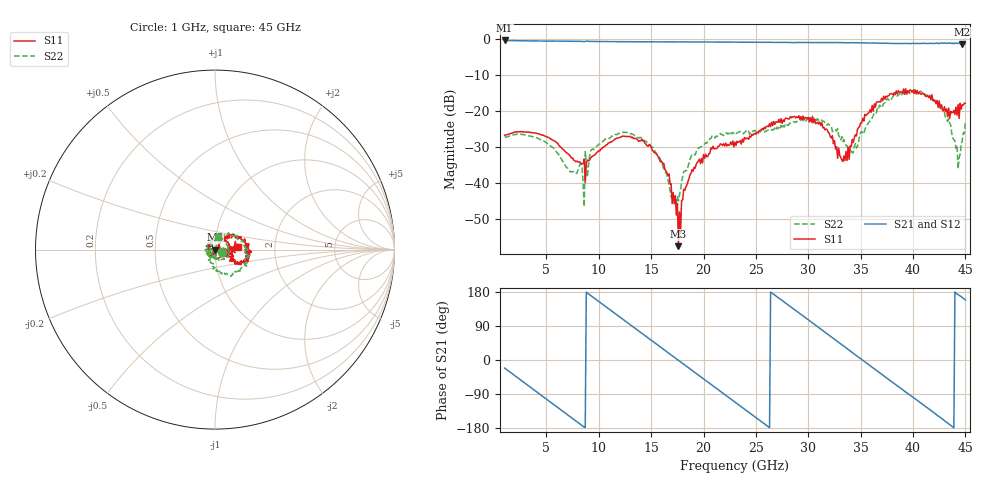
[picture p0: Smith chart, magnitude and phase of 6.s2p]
!Keysight Technologies,N5247B,MY61255062,A.19.80.06
!Date: Monday, May 18, 2026 12:03:56
!Correction: S11(Cdelta 2-Port  )
!S21(Cdelta 2-Port  )
!S12(Cdelta 2-Port  )
!S22(Cdelta 2-Port  )
!S2P File: Measurements: S11, S21, S12, S22:
# Hz S  dB  R 50
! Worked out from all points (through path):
!   441 points, 1 GHz to 45 GHz, reference 50 ohm
!   highest |S21| = -0.41 dB at 1 GHz (marker M1); lowest = -1.4 dB at 44.7 GHz (marker M2)
!   group delay of S21, straight-line fit = 56.8 ps
!   lowest |S11| = -57.6 dB at 17.6 GHz (marker M3), VSWR 1.00, Z = 49.9 - j0.0595 ohm
!   |S11| at or under -10 dB: start of sweep to end of sweep
!   |S22| runs from -46.6 to -14.1 dB; largest |S21 - S12| = 0.015
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1e9  -26.72 -17.0  -0.41 -21.3  -0.41 -21.3  -27.14 -18.6
4.6e9  -26.72 -102.3  -0.57 -95.2  -0.57 -95.2  -28.20 -102.6
8.4e9  -34.73 -115.6  -0.67 -173.1  -0.67 -173.1  -35.71 -63.6
9.4e9  -32.52 -102.0  -0.68 166.5  -0.69 166.5  -30.55 -76.3
1.23e10  -27.01 -128.9  -0.76 107.5  -0.76 107.4  -25.93 -118.4
1.57e10  -33.01 173.8  -0.79 37.9  -0.80 37.9  -32.74 -174.5
1.67e10  -37.48 149.3  -0.82 17.6  -0.82 17.5  -40.48 -170.3
1.76e10  -57.55 -153.3  -0.83 -0.7  -0.83 -0.8  -44.97 -90.3
1.83e10  -41.12 -89.8  -0.83 -15.0  -0.84 -15.0  -36.51 -66.9
1.94e10  -34.27 -104.8  -0.83 -37.4  -0.83 -37.5  -30.98 -86.7
2.12e10  -30.48 -140.4  -0.84 -74.3  -0.85 -74.4  -27.02 -115.8
2.3e10  -28.63 173.4  -0.88 -111.2  -0.88 -111.3  -25.89 -149.6
2.66e10  -24.06 68.5  -0.97 175.3  -0.96 175.2  -25.20 95.3
3.04e10  -21.49 -7.6  -1.00 97.8  -1.02 97.7  -23.25 -18.2
3.33e10  -34.04 25.3  -1.03 38.1  -1.04 37.9  -28.48 -114.8
3.42e10  -27.89 59.3  -1.06 19.9  -1.04 19.7  -31.66 168.3
3.77e10  -15.71 17.5  -1.21 -51.9  -1.25 -52.1  -16.96 30.0
4.09e10  -15.02 -24.4  -1.21 -116.8  -1.26 -116.7  -14.95 -40.8
4.28e10  -19.64 -38.6  -1.14 -155.8  -1.18 -155.7  -19.16 -95.9
4.43e10  -18.25 -1.2  -1.19 172.7  -1.27 172.4  -36.08 141.5
4.47e10  -18.27 22.0  -1.35 165.1  -1.26 164.5  -28.25 104.6
4.5e10  -17.87 6.8  -1.31 158.2  -1.27 158.1  -22.94 77.9
